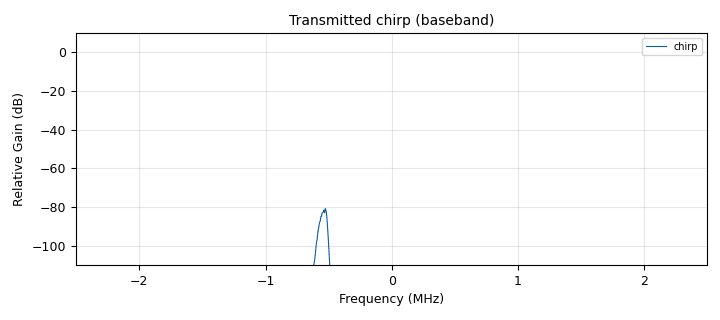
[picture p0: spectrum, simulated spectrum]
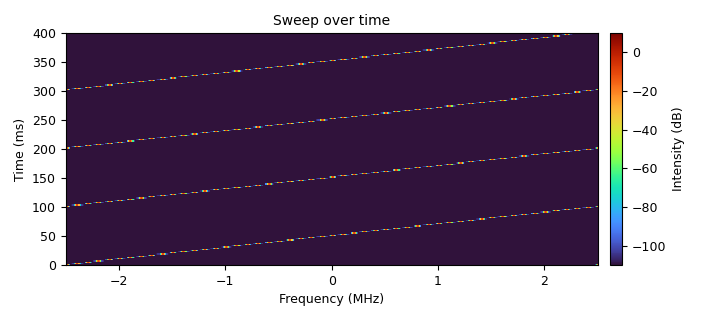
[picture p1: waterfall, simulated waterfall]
options:
  parameters:
    author: gpsk_comms
    category: Custom
    description: 'Standalone sweep (chirp) jammer for two 100 MHz bands: 2392-2492 MHz and 5190-5290 MHz. A linear chirp sweeps across the instantaneous sample_rate window while the embedded block steps the USRP LO across each band and alternates between the two, covering the full 2 x 100 MHz. Speed and sample rate are live sliders. WARNING: this transmits -- only radiate in bands you are licensed for, into a load or attenuator. Both default bands overlap licensed services.'
    generate_options: qt_gui
    id: sweep_jammer
    output_language: python
    title: Sweep Jammer - two 100 MHz bands
  states: {}

blocks:
- name: antenna
  id: variable
  parameters:
    value: '"TX/RX"'
  states: {}
- name: bands
  id: variable_qtgui_chooser
  parameters:
    comment: Which allocation(s) to sweep. Changing this rebuilds the LO plan live.
    gui_hint: 0,0,1,2
    label: Band(s) to jam
    label0: 2.4 GHz ISM (2392-2492 MHz)
    label1: 5.2 GHz (5190-5290 MHz)
    label2: Both bands
    label3: 5210 MHz only (single channel)
    num_opts: '4'
    option0: '"2g4"'
    option1: '"5g2"'
    option2: '"both"'
    option3: '"5210"'
    options: '[0, 1, 2, 3]'
    type: string
    value: '"2g4"'
  states: {}
- name: min_freq_mhz
  id: variable_qtgui_range
  parameters:
    comment: Lower edge of the swept range, in MHz. Only applies when a single 100 MHz band is selected -- ignored for Both bands and the 5210 spot. Leave at the band edge for no narrowing. Live.
    gui_hint: 0,2,1,1
    label: Min freq (MHz, single band)
    start: '2392'
    step: '1'
    stop: '5290'
    value: '2392'
  states: {}
- name: max_freq_mhz
  id: variable_qtgui_range
  parameters:
    comment: Upper edge of the swept range, in MHz. Only applies when a single 100 MHz band is selected. Live.
    gui_hint: 1,2,1,1
    label: Max freq (MHz, single band)
    start: '2392'
    step: '1'
    stop: '5290'
    value: '5290'
  states: {}
- name: center_freq
  id: variable
  parameters:
    comment: Initial LO frequency, set before the flowgraph starts. The embedded block retunes the radio from here via command messages, so this only needs to be a frequency the daughterboard can reach.
    value: '2442000000'
  states: {}
- name: device_addr
  id: variable
  parameters:
    comment: Empty takes the first device found; set a serial to pick one.
    value: '""'
  states: {}
- name: dwell
  id: variable_qtgui_range
  parameters:
    comment: Seconds the LO holds on each step before moving on. The full band revisit time is dwell times the number of LO steps. Live.
    gui_hint: 2,0,1,1
    label: LO dwell (s)
    start: '0.005'
    step: '0.005'
    stop: '0.2'
    value: '0.02'
  states: {}
- name: gain
  id: variable_qtgui_range
  parameters:
    comment: USRP transmit gain in dB. Live. Start low.
    gui_hint: 2,1,1,1
    label: TX gain (dB)
    start: '0'
    step: '1'
    stop: '100'
    value: '95'
  states: {}
- name: samp_rate
  id: variable_qtgui_range
  parameters:
    comment: Instantaneous swept bandwidth, and the USRP sample rate. Live, though a real radio may glitch as it retunes its clocks -- for a jammer that does not matter. Keep it inside what your device and USB/Ethernet link can sustain.
    gui_hint: 1,0,1,1
    label: Sample rate (Hz)
    start: '1000000'
    step: '1000000'
    stop: '10000000'
    value: '5000000'
  states: {}
- name: speed
  id: variable_qtgui_range
  parameters:
    comment: Chirp sweeps per second across the sample_rate window. Higher dwells less on each frequency; lower puts more energy per visit. Live.
    gui_hint: 1,1,1,1
    label: Sweep speed (sweeps/s)
    start: '1'
    step: '1'
    stop: '100'
    value: '10'
  states: {}
- name: chirp
  id: epy_block
  parameters:
    _source_code: |
      """Chirp sweep jammer with LO stepping across two 100 MHz bands.

      A linear chirp is generated across +/- samp_rate/2. The block also steps the
      USRP local oscillator by publishing 'freq' command messages on its message
      port; wire that port to a UHD Sink's command port and the LO tiles each band
      and alternates between them, covering far more spectrum than one sample_rate
      window. Sample rate, speed, dwell, band selection and the min/max narrowing
      are all live: work() rebuilds the LO plan whenever any of them change.

      When a single 100 MHz band is selected (not "both", not the 5210 spot), the
      [min_freq, max_freq] window narrows the swept range to its intersection with
      that band. It is ignored for "both" and for the single-channel spot. A value
      of 0 means "unset" (use the band edge).
      """

      import math
      import time

      import numpy as np
      import pmt
      from gnuradio import gr

      # The two target bands as (low_hz, high_hz), matching the anti-jam link's
      # 2442 MHz and 5240 MHz allocations. A zero-width entry is a single-frequency
      # spot: one LO step, no hopping, with the chirp still spreading across the
      # sample_rate window.
      _BANDS = {
          "2g4": [(2_392_000_000, 2_492_000_000)],
          "5g2": [(5_190_000_000, 5_290_000_000)],
          "both": [(2_392_000_000, 2_492_000_000), (5_190_000_000, 5_290_000_000)],
          "5210": [(5_210_000_000, 5_210_000_000)],
      }


      class blk(gr.sync_block):
          def __init__(self, samp_rate=20e6, speed=1000.0, dwell=0.02, bands="both",
                       min_freq=0.0, max_freq=0.0):
              gr.sync_block.__init__(
                  self, name="Chirp Sweep Jammer", in_sig=None,
                  out_sig=[np.complex64],
              )
              self.samp_rate = float(samp_rate)
              self.speed = float(speed)
              self.dwell = float(dwell)
              self.bands = bands
              self.min_freq = float(min_freq)
              self.max_freq = float(max_freq)
              self.message_port_register_out(pmt.intern("command"))
              self._count = 0
              self._phase = 0.0
              self._index = 0
              self._next_step = 0.0
              self._built_for = None
              self._plan = [2_442_000_000.0]
              # The first real plan build and LO tune happen in start(), once the
              # command port is connected -- publishing here would go nowhere.

          def _band_list(self):
              band_list = _BANDS.get(self.bands, _BANDS["both"])
              # Narrow only a single 100 MHz band; "both" and the spot are left alone.
              if len(band_list) == 1 and band_list[0][1] > band_list[0][0] \
                      and (self.min_freq > 0 or self.max_freq > 0):
                  low, high = band_list[0]
                  lo = max(low, self.min_freq) if self.min_freq > 0 else low
                  hi = min(high, self.max_freq) if self.max_freq > 0 else high
                  if hi > lo:
                      band_list = [(lo, hi)]
              return band_list

          def _rebuild_plan(self):
              centres = []
              for low, high in self._band_list():
                  width = high - low
                  steps = max(1, math.ceil(width / self.samp_rate))
                  step_width = width / steps
                  for k in range(steps):
                      centres.append(low + step_width * (k + 0.5))
              self._plan = centres
              self._index = 0
              self._built_for = (self.samp_rate, self.bands, self.min_freq, self.max_freq)
              self._retune(self._plan[0])
              self._next_step = time.monotonic() + self.dwell

          def _retune(self, freq):
              # Print the current centre frequency on every LO step, so the console
              # shows the sweep walking across the bands.
              print("[sweep jammer] centre frequency -> %.3f MHz" % (freq / 1e6),
                    flush=True)
              self.message_port_pub(
                  pmt.intern("command"),
                  pmt.cons(pmt.intern("freq"), pmt.from_double(float(freq))),
              )

          def start(self):
              self._rebuild_plan()
              return True

          def work(self, input_items, output_items):
              if (self.samp_rate, self.bands, self.min_freq,
                      self.max_freq) != self._built_for:
                  self._rebuild_plan()

              out = output_items[0]
              n = len(out)
              period = max(2.0, self.samp_rate / self.speed)
              idx = self._count + np.arange(n)
              inst = (idx % period) / period - 0.5
              phase = self._phase + 2.0 * np.pi * np.cumsum(inst)
              out[:] = np.exp(1j * phase).astype(np.complex64)
              self._phase = float(phase[-1] % (2.0 * np.pi))
              self._count += n

              if len(self._plan) > 1 and time.monotonic() >= self._next_step:
                  self._index = (self._index + 1) % len(self._plan)
                  self._retune(self._plan[self._index])
                  self._next_step = time.monotonic() + self.dwell
              return n
    bands: bands
    comment: Generates the chirp and, on its command port, the LO retune messages that tile both bands. Wire command -> USRP Sink command.
    dwell: dwell
    samp_rate: samp_rate
    speed: speed
    min_freq: min_freq_mhz*1e6
    max_freq: max_freq_mhz*1e6
  states: {}
- name: spectrum
  id: qtgui_freq_sink_x
  parameters:
    average: '0.1'
    bw: samp_rate
    comment: The baseband chirp being transmitted at the current LO step. Spans the full sample_rate window as the sweep runs.
    fc: '0'
    fftsize: '1024'
    grid: 'True'
    gui_hint: 3,0,1,1
    label1: chirp
    name: '"Transmitted chirp (baseband)"'
    type: complex
    ymin: '-110'
  states: {}
- name: usrp_sink
  id: uhd_usrp_sink
  parameters:
    ant0: antenna
    bw0: samp_rate
    center_freq0: center_freq
    comment: 'The command port receives freq retune messages from the chirp block, so its centre frequency follows the LO plan. HARDWARE WARNING: only radiate into a load or attenuator, in bands you are licensed to use.'
    dev_addr: device_addr
    gain0: gain
    samp_rate: samp_rate
    sync: sync
    type: fc32
  states: {}
- name: waterfall
  id: qtgui_waterfall_sink_x
  parameters:
    bw: samp_rate
    comment: The diagonal streaks are the chirp sweeping across the window over time. The LO stepping is not visible here (this is baseband) but is happening on the radio.
    fc: '0'
    fftsize: '1024'
    gui_hint: 3,1,1,1
    int_min: '-110'
    name: '"Sweep over time"'
    type: complex
  states: {}

connections:
- [chirp, '0', spectrum, '0']
- [chirp, '0', usrp_sink, '0']
- [chirp, '0', waterfall, '0']
- [chirp, command, usrp_sink, command]

metadata:
  file_format: 1
  grc_version: 3.10.10.0
